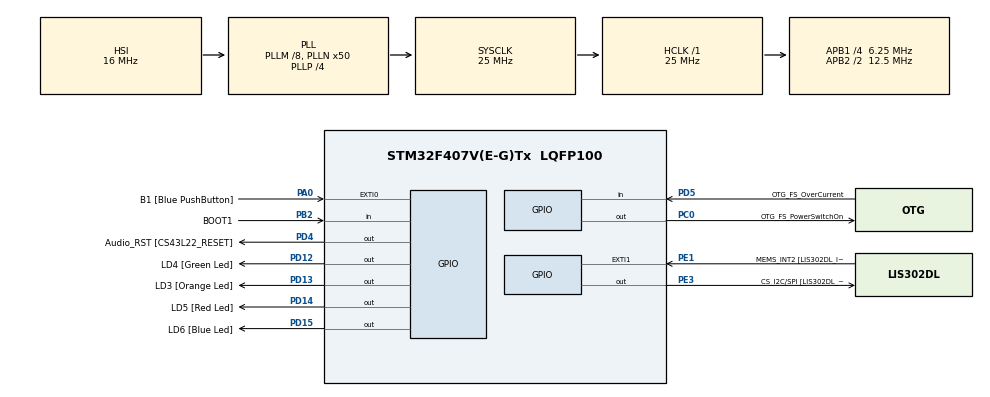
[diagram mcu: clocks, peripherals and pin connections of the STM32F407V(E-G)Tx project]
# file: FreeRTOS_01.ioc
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Mcu.Family=STM32F4
Mcu.Name=STM32F407V(E-G)Tx
Mcu.Package=LQFP100
NVIC.PriorityGroup=NVIC_PRIORITYGROUP_4
NVIC.TIM6_DAC_IRQn=true\:0\:0\:false\:false\:true\:false\:true\:true
NVIC.TimeBase=TIM6_DAC_IRQn
NVIC.TimeBaseIP=TIM6
PA0-WKUP.GPIO_Label=B1 [Blue PushButton]
PA0-WKUP.Signal=GPXTI0
PA10.GPIO_Label=OTG_FS_ID
PA10.GPIO_Mode=GPIO_MODE_AF_PP
PA10.GPIO_PuPd=GPIO_NOPULL
PA10.GPIO_Speed=GPIO_SPEED_FREQ_LOW
PA10.Signal=USB_OTG_FS_ID
PA11.GPIO_Label=OTG_FS_DM
PA11.GPIO_Mode=GPIO_MODE_AF_PP
PA11.GPIO_PuPd=GPIO_NOPULL
PA11.GPIO_Speed=GPIO_SPEED_FREQ_LOW
PA11.Signal=USB_OTG_FS_DM
PA12.GPIO_Label=OTG_FS_DP
PA12.GPIO_Mode=GPIO_MODE_AF_PP
PA12.GPIO_PuPd=GPIO_NOPULL
PA12.GPIO_Speed=GPIO_SPEED_FREQ_LOW
PA12.Signal=USB_OTG_FS_DP
PA13.GPIO_Label=SWDIO
PA13.Signal=SYS_JTMS-SWDIO
PA14.GPIO_Label=SWCLK
PA14.Signal=SYS_JTCK-SWCLK
PA4.GPIO_Label=I2S3_WS [CS43L22_LRCK]
PA4.GPIO_Mode=GPIO_MODE_AF_PP
PA4.GPIO_PuPd=GPIO_NOPULL
PA4.GPIO_Speed=GPIO_SPEED_FREQ_LOW
PA4.Signal=I2S3_WS
PA5.GPIO_Label=SPI1_SCK [LIS302DL_SCL/SPC]
PA5.GPIO_Mode=GPIO_MODE_AF_PP
PA5.GPIO_PuPd=GPIO_NOPULL
PA5.GPIO_Speed=GPIO_SPEED_FREQ_LOW
PA5.Signal=SPI1_SCK
PA6.GPIO_Label=SPI1_MISO [LIS302DL_SDO]
PA6.GPIO_Mode=GPIO_MODE_AF_PP
PA6.GPIO_PuPd=GPIO_NOPULL
PA6.GPIO_Speed=GPIO_SPEED_FREQ_LOW
PA6.Signal=SPI1_MISO
PA7.GPIO_Label=SPI1_MOSI [LIS302DL_SDA/SDI/SDO]
PA7.GPIO_Mode=GPIO_MODE_AF_PP
PA7.GPIO_PuPd=GPIO_NOPULL
PA7.GPIO_Speed=GPIO_SPEED_FREQ_LOW
PA7.Signal=SPI1_MOSI
PA9.GPIO_Label=VBUS_FS
PA9.GPIO_Mode=GPIO_MODE_INPUT
PA9.GPIO_PuPd=GPIO_NOPULL
PA9.Signal=USB_OTG_FS_VBUS
PB10.GPIO_Label=CLK_IN [MP45DT02_CLK]
PB10.GPIO_Mode=GPIO_MODE_AF_PP
PB10.GPIO_PuPd=GPIO_NOPULL
PB10.GPIO_Speed=GPIO_SPEED_FREQ_LOW
PB10.Signal=I2S2_CK
PB2.GPIO_Label=BOOT1
PB2.GPIO_Mode=GPIO_MODE_INPUT
PB2.GPIO_PuPd=GPIO_NOPULL
PB2.Signal=GPIO_Input
PB3.GPIO_Label=SWO
PB3.Signal=SYS_JTDO-SWO
PB6.GPIO_Label=Audio_SCL [CS43L22_SCL]
PB6.GPIO_Mode=GPIO_MODE_AF_OD
PB6.GPIO_PuPd=GPIO_NOPULL
PB6.GPIO_Speed=GPIO_SPEED_FREQ_LOW
PB6.Signal=I2C1_SCL
PB9.GPIO_Label=Audio_SDA [CS43L22_SDA]
PB9.GPIO_Mode=GPIO_MODE_AF_OD
PB9.GPIO_PuPd=GPIO_NOPULL
PB9.GPIO_Speed=GPIO_SPEED_FREQ_LOW
PB9.Signal=I2C1_SDA
PC0.GPIO_Label=OTG_FS_PowerSwitchOn
PC0.GPIO_PuPd=GPIO_NOPULL
PC0.GPIO_Speed=GPIO_SPEED_FREQ_LOW
PC0.PinState=GPIO_PIN_SET
PC0.Signal=GPIO_Output
PC10.GPIO_Label=I2S3_SCK [CS43L22_SCLK]
PC10.GPIO_Mode=GPIO_MODE_AF_PP
PC10.GPIO_PuPd=GPIO_NOPULL
PC10.GPIO_Speed=GPIO_SPEED_FREQ_LOW
PC10.Signal=I2S3_CK
PC12.GPIO_Label=I2S3_SD [CS43L22_SDIN]
PC12.GPIO_Mode=GPIO_MODE_AF_PP
PC12.GPIO_PuPd=GPIO_NOPULL
PC12.GPIO_Speed=GPIO_SPEED_FREQ_LOW
PC12.Signal=I2S3_SD
PC14-OSC32_IN.GPIO_Label=PC14-OSC32_IN
PC14-OSC32_IN.Signal=RCC_OSC32_IN
PC15-OSC32_OUT.GPIO_Label=PC15-OSC32_OUT
PC15-OSC32_OUT.Signal=RCC_OSC32_OUT
PC3.GPIO_Label=PDM_OUT [MP45DT02_DOUT]
PC3.GPIO_Mode=GPIO_MODE_AF_PP
PC3.GPIO_PuPd=GPIO_NOPULL
PC3.GPIO_Speed=GPIO_SPEED_FREQ_LOW
PC3.Signal=I2S2_SD
PC7.GPIO_Label=I2S3_MCK [CS43L22_MCLK]
PC7.GPIO_Mode=GPIO_MODE_AF_PP
PC7.GPIO_PuPd=GPIO_NOPULL
PC7.GPIO_Speed=GPIO_SPEED_FREQ_LOW
PC7.Signal=I2S3_MCK
PD12.GPIO_Label=LD4 [Green Led]
PD12.GPIO_PuPd=GPIO_NOPULL
PD12.GPIO_Speed=GPIO_SPEED_FREQ_LOW
PD12.Signal=GPIO_Output
PD13.GPIO_Label=LD3 [Orange Led]
PD13.GPIO_PuPd=GPIO_NOPULL
PD13.GPIO_Speed=GPIO_SPEED_FREQ_LOW
PD13.Signal=GPIO_Output
PD14.GPIO_Label=LD5 [Red Led]
PD14.GPIO_PuPd=GPIO_NOPULL
PD14.GPIO_Speed=GPIO_SPEED_FREQ_LOW
PD14.Signal=GPIO_Output
PD15.GPIO_Label=LD6 [Blue Led]
PD15.GPIO_PuPd=GPIO_NOPULL
PD15.GPIO_Speed=GPIO_SPEED_FREQ_LOW
PD15.Signal=GPIO_Output
PD4.GPIO_Label=Audio_RST [CS43L22_RESET]
PD4.GPIO_PuPd=GPIO_NOPULL
PD4.GPIO_Speed=GPIO_SPEED_FREQ_LOW
PD4.Signal=GPIO_Output
PD5.GPIO_Label=OTG_FS_OverCurrent
PD5.GPIO_Mode=GPIO_MODE_INPUT
PD5.GPIO_PuPd=GPIO_NOPULL
PD5.Signal=GPIO_Input
PE1.GPIO_Label=MEMS_INT2 [LIS302DL_INT2]
PE1.GPIO_ModeDefaultEXTI=GPIO_MODE_EVT_RISING
PE1.GPIO_PuPd=GPIO_NOPULL
PE1.Signal=GPXTI1
PE3.GPIO_Label=CS_I2C/SPI [LIS302DL_CS_I2C/SPI]
PE3.GPIO_PuPd=GPIO_NOPULL
PE3.GPIO_Speed=GPIO_SPEED_FREQ_LOW
PE3.Signal=GPIO_Output
PH0-OSC_IN.GPIO_Label=PH0-OSC_IN
PH0-OSC_IN.Signal=RCC_OSC_IN
PH1-OSC_OUT.GPIO_Label=PH1-OSC_OUT
PH1-OSC_OUT.Signal=RCC_OSC_OUT
ProjectManager.HeapSize=0x200
ProjectManager.StackSize=0x400
ProjectManager.TargetToolchain=STM32CubeIDE
RCC.48MHZClocksFreq_Value=14285714.285714285
RCC.AHBFreq_Value=25000000
RCC.APB1CLKDivider=RCC_HCLK_DIV4
RCC.APB1Freq_Value=6250000
RCC.APB1TimFreq_Value=12500000
RCC.APB2CLKDivider=RCC_HCLK_DIV2
RCC.APB2Freq_Value=12500000
RCC.APB2TimFreq_Value=25000000
RCC.CortexFreq_Value=25000000
RCC.HCLKFreq_Value=25000000
RCC.HSE_VALUE=8000000
RCC.HSI_VALUE=16000000
RCC.LSE_VALUE=32768
RCC.PLLM=8
RCC.PLLN=50
RCC.PLLP=RCC_PLLP_DIV4
RCC.PLLQ=7
RCC.SYSCLKFreq_VALUE=25000000
RCC.SYSCLKSource=RCC_SYSCLKSOURCE_PLLCLK
RCC.VCOOutputFreq_Value=100000000
VP_SYS_VS_tim6.Mode=TIM6
board=STM32F407G-DISC1

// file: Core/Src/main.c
/* USER CODE BEGIN Header */
/**
  ******************************************************************************
  * @file           : main.c
  * @brief          : Main program body
  ******************************************************************************
  * @attention
  *
  * Copyright (c) 2023 STMicroelectronics.
  * All rights reserved.
  *
  * This software is licensed under terms that can be found in the LICENSE file
  * in the root directory of this software component.
  * If no LICENSE file comes with this software, it is provided AS-IS.
  *
  ******************************************************************************
  */
/* USER CODE END Header */
#include "main.h"

/* USER CODE BEGIN Includes */
#include <stdio.h>
#include "FreeRTOS.h"
#include "task.h"
/* USER CODE END Includes */

/* USER CODE BEGIN PV */
#define DWT_CTRL (*(volatile uint32_t*)0xE0001000)

/* USER CODE END PV */

void SystemClock_Config(void);
static void MX_GPIO_Init(void);
/* USER CODE BEGIN PFP */
static void task1_handler(void* parameters);
static void task2_handler(void* parameters);
/* USER CODE END PFP */

int main(void)
{
  /* USER CODE BEGIN 1 */
TaskHandle_t task1_handle;
TaskHandle_t task2_handle;
BaseType_t status;
  /* USER CODE END 1 */

  /* MCU Configuration--------------------------------------------------------*/

  /* Reset of all peripherals, Initializes the Flash interface and the Systick. */
  HAL_Init();

  /* Configure the system clock */
  SystemClock_Config();

  /* Initialize all configured peripherals */
  MX_GPIO_Init();

  /* USER CODE BEGIN 2 */

  // Enable the CYCCNT counter - use address 0xE0001000
  DWT_CTRL |= (1 << 0); 	// set 0th-bit to 1
  // SEGGER Start Call
  SEGGER_SYSVIEW_Conf();
  SEGGER_SYSVIEW_Start();

  status = xTaskCreate(task1_handler,"Task-1",200, "Task-1",2,&task1_handle);
  configASSERT(status == pdPASS);

  status = xTaskCreate(task2_handler,"Task-2",200, "Task-2",2,&task2_handle);
    configASSERT(status == pdPASS);

    // Start freeRTOS Scheduler
    vTaskStartScheduler();

  /* USER CODE END 2 */

  /* Infinite loop */
  while (1)
  {

  }
}

void SystemClock_Config(void)
{
  RCC_OscInitTypeDef RCC_OscInitStruct = {0};
  RCC_ClkInitTypeDef RCC_ClkInitStruct = {0};

  /** Configure the main internal regulator output voltage
  */
  __HAL_RCC_PWR_CLK_ENABLE();
  __HAL_PWR_VOLTAGESCALING_CONFIG(PWR_REGULATOR_VOLTAGE_SCALE1);

  /** Initializes the RCC Oscillators according to the specified parameters
  * in the RCC_OscInitTypeDef structure.
  */
  RCC_OscInitStruct.OscillatorType = RCC_OSCILLATORTYPE_HSI;
  RCC_OscInitStruct.HSIState = RCC_HSI_ON;
  RCC_OscInitStruct.HSICalibrationValue = RCC_HSICALIBRATION_DEFAULT;
  RCC_OscInitStruct.PLL.PLLState = RCC_PLL_ON;
  RCC_OscInitStruct.PLL.PLLSource = RCC_PLLSOURCE_HSI;
  RCC_OscInitStruct.PLL.PLLM = 8;
  RCC_OscInitStruct.PLL.PLLN = 50;
  RCC_OscInitStruct.PLL.PLLP = RCC_PLLP_DIV4;
  RCC_OscInitStruct.PLL.PLLQ = 7;
  if (HAL_RCC_OscConfig(&RCC_OscInitStruct) != HAL_OK)
  {
    Error_Handler();
  }

  /** Initializes the CPU, AHB and APB buses clocks
  */
  RCC_ClkInitStruct.ClockType = RCC_CLOCKTYPE_HCLK|RCC_CLOCKTYPE_SYSCLK
                              |RCC_CLOCKTYPE_PCLK1|RCC_CLOCKTYPE_PCLK2;
  RCC_ClkInitStruct.SYSCLKSource = RCC_SYSCLKSOURCE_PLLCLK;
  RCC_ClkInitStruct.AHBCLKDivider = RCC_SYSCLK_DIV1;
  RCC_ClkInitStruct.APB1CLKDivider = RCC_HCLK_DIV4;
  RCC_ClkInitStruct.APB2CLKDivider = RCC_HCLK_DIV2;

  if (HAL_RCC_ClockConfig(&RCC_ClkInitStruct, FLASH_LATENCY_0) != HAL_OK)
  {
    Error_Handler();
  }
}

static void MX_GPIO_Init(void)
{
  GPIO_InitTypeDef GPIO_InitStruct = {0};

  /* GPIO Ports Clock Enable */
  __HAL_RCC_GPIOE_CLK_ENABLE();
  __HAL_RCC_GPIOC_CLK_ENABLE();
  __HAL_RCC_GPIOH_CLK_ENABLE();
  __HAL_RCC_GPIOA_CLK_ENABLE();
  __HAL_RCC_GPIOB_CLK_ENABLE();
  __HAL_RCC_GPIOD_CLK_ENABLE();

  /*Configure GPIO pin Output Level */
  HAL_GPIO_WritePin(CS_I2C_SPI_GPIO_Port, CS_I2C_SPI_Pin, GPIO_PIN_RESET);

  /*Configure GPIO pin Output Level */
  HAL_GPIO_WritePin(OTG_FS_PowerSwitchOn_GPIO_Port, OTG_FS_PowerSwitchOn_Pin, GPIO_PIN_SET);

  /*Configure GPIO pin Output Level */
  HAL_GPIO_WritePin(GPIOD, LD4_Pin|LD3_Pin|LD5_Pin|LD6_Pin
                          |Audio_RST_Pin, GPIO_PIN_RESET);

  /*Configure GPIO pin : CS_I2C_SPI_Pin */
  GPIO_InitStruct.Pin = CS_I2C_SPI_Pin;
  GPIO_InitStruct.Mode = GPIO_MODE_OUTPUT_PP;
  GPIO_InitStruct.Pull = GPIO_NOPULL;
  GPIO_InitStruct.Speed = GPIO_SPEED_FREQ_LOW;
  HAL_GPIO_Init(CS_I2C_SPI_GPIO_Port, &GPIO_InitStruct);

  /*Configure GPIO pin : OTG_FS_PowerSwitchOn_Pin */
  GPIO_InitStruct.Pin = OTG_FS_PowerSwitchOn_Pin;
  GPIO_InitStruct.Mode = GPIO_MODE_OUTPUT_PP;
  GPIO_InitStruct.Pull = GPIO_NOPULL;
  GPIO_InitStruct.Speed = GPIO_SPEED_FREQ_LOW;
  HAL_GPIO_Init(OTG_FS_PowerSwitchOn_GPIO_Port, &GPIO_InitStruct);

  /*Configure GPIO pin : PDM_OUT_Pin */
  GPIO_InitStruct.Pin = PDM_OUT_Pin;
  GPIO_InitStruct.Mode = GPIO_MODE_AF_PP;
  GPIO_InitStruct.Pull = GPIO_NOPULL;
  GPIO_InitStruct.Speed = GPIO_SPEED_FREQ_LOW;
  GPIO_InitStruct.Alternate = GPIO_AF5_SPI2;
  HAL_GPIO_Init(PDM_OUT_GPIO_Port, &GPIO_InitStruct);

  /*Configure GPIO pin : B1_Pin */
  GPIO_InitStruct.Pin = B1_Pin;
  GPIO_InitStruct.Mode = GPIO_MODE_IT_RISING;
  GPIO_InitStruct.Pull = GPIO_NOPULL;
  HAL_GPIO_Init(B1_GPIO_Port, &GPIO_InitStruct);

  /*Configure GPIO pin : I2S3_WS_Pin */
  GPIO_InitStruct.Pin = I2S3_WS_Pin;
  GPIO_InitStruct.Mode = GPIO_MODE_AF_PP;
  GPIO_InitStruct.Pull = GPIO_NOPULL;
  GPIO_InitStruct.Speed = GPIO_SPEED_FREQ_LOW;
  GPIO_InitStruct.Alternate = GPIO_AF6_SPI3;
  HAL_GPIO_Init(I2S3_WS_GPIO_Port, &GPIO_InitStruct);

  /*Configure GPIO pins : SPI1_SCK_Pin SPI1_MISO_Pin SPI1_MOSI_Pin */
  GPIO_InitStruct.Pin = SPI1_SCK_Pin|SPI1_MISO_Pin|SPI1_MOSI_Pin;
  GPIO_InitStruct.Mode = GPIO_MODE_AF_PP;
  GPIO_InitStruct.Pull = GPIO_NOPULL;
  GPIO_InitStruct.Speed = GPIO_SPEED_FREQ_LOW;
  GPIO_InitStruct.Alternate = GPIO_AF5_SPI1;
  HAL_GPIO_Init(GPIOA, &GPIO_InitStruct);

  /*Configure GPIO pin : BOOT1_Pin */
  GPIO_InitStruct.Pin = BOOT1_Pin;
  GPIO_InitStruct.Mode = GPIO_MODE_INPUT;
  GPIO_InitStruct.Pull = GPIO_NOPULL;
  HAL_GPIO_Init(BOOT1_GPIO_Port, &GPIO_InitStruct);

  /*Configure GPIO pin : CLK_IN_Pin */
  GPIO_InitStruct.Pin = CLK_IN_Pin;
  GPIO_InitStruct.Mode = GPIO_MODE_AF_PP;
  GPIO_InitStruct.Pull = GPIO_NOPULL;
  GPIO_InitStruct.Speed = GPIO_SPEED_FREQ_LOW;
  GPIO_InitStruct.Alternate = GPIO_AF5_SPI2;
  HAL_GPIO_Init(CLK_IN_GPIO_Port, &GPIO_InitStruct);

  /*Configure GPIO pins : LD4_Pin LD3_Pin LD5_Pin LD6_Pin
                           Audio_RST_Pin */
  GPIO_InitStruct.Pin = LD4_Pin|LD3_Pin|LD5_Pin|LD6_Pin
                          |Audio_RST_Pin;
  GPIO_InitStruct.Mode = GPIO_MODE_OUTPUT_PP;
  GPIO_InitStruct.Pull = GPIO_NOPULL;
  GPIO_InitStruct.Speed = GPIO_SPEED_FREQ_LOW;
  HAL_GPIO_Init(GPIOD, &GPIO_InitStruct);

  /*Configure GPIO pins : I2S3_MCK_Pin I2S3_SCK_Pin I2S3_SD_Pin */
  GPIO_InitStruct.Pin = I2S3_MCK_Pin|I2S3_SCK_Pin|I2S3_SD_Pin;
  GPIO_InitStruct.Mode = GPIO_MODE_AF_PP;
  GPIO_InitStruct.Pull = GPIO_NOPULL;
  GPIO_InitStruct.Speed = GPIO_SPEED_FREQ_LOW;
  GPIO_InitStruct.Alternate = GPIO_AF6_SPI3;
  HAL_GPIO_Init(GPIOC, &GPIO_InitStruct);

  /*Configure GPIO pin : VBUS_FS_Pin */
  GPIO_InitStruct.Pin = VBUS_FS_Pin;
  GPIO_InitStruct.Mode = GPIO_MODE_INPUT;
  GPIO_InitStruct.Pull = GPIO_NOPULL;
  HAL_GPIO_Init(VBUS_FS_GPIO_Port, &GPIO_InitStruct);

  /*Configure GPIO pins : OTG_FS_ID_Pin OTG_FS_DM_Pin OTG_FS_DP_Pin */
  GPIO_InitStruct.Pin = OTG_FS_ID_Pin|OTG_FS_DM_Pin|OTG_FS_DP_Pin;
  GPIO_InitStruct.Mode = GPIO_MODE_AF_PP;
  GPIO_InitStruct.Pull = GPIO_NOPULL;
  GPIO_InitStruct.Speed = GPIO_SPEED_FREQ_LOW;
  GPIO_InitStruct.Alternate = GPIO_AF10_OTG_FS;
  HAL_GPIO_Init(GPIOA, &GPIO_InitStruct);

  /*Configure GPIO pin : OTG_FS_OverCurrent_Pin */
  GPIO_InitStruct.Pin = OTG_FS_OverCurrent_Pin;
  GPIO_InitStruct.Mode = GPIO_MODE_INPUT;
  GPIO_InitStruct.Pull = GPIO_NOPULL;
  HAL_GPIO_Init(OTG_FS_OverCurrent_GPIO_Port, &GPIO_InitStruct);

  /*Configure GPIO pins : Audio_SCL_Pin Audio_SDA_Pin */
  GPIO_InitStruct.Pin = Audio_SCL_Pin|Audio_SDA_Pin;
  GPIO_InitStruct.Mode = GPIO_MODE_AF_OD;
  GPIO_InitStruct.Pull = GPIO_NOPULL;
  GPIO_InitStruct.Speed = GPIO_SPEED_FREQ_LOW;
  GPIO_InitStruct.Alternate = GPIO_AF4_I2C1;
  HAL_GPIO_Init(GPIOB, &GPIO_InitStruct);

  /*Configure GPIO pin : MEMS_INT2_Pin */
  GPIO_InitStruct.Pin = MEMS_INT2_Pin;
  GPIO_InitStruct.Mode = GPIO_MODE_EVT_RISING;
  GPIO_InitStruct.Pull = GPIO_NOPULL;
  HAL_GPIO_Init(MEMS_INT2_GPIO_Port, &GPIO_InitStruct);

}

/* USER CODE BEGIN 4 */
static void task1_handler(void* parameters)
{
	while(1)
	{
		printf("%s\n",(char*)parameters);
		//taskYIELD();
	}
}
static void task2_handler(void* parameters)
{
	while(1)
		{
			printf("%s\n",(char*)parameters);
			//taskYIELD();
		}
}
/* USER CODE END 4 */

void HAL_TIM_PeriodElapsedCallback(TIM_HandleTypeDef *htim)
{
  if (htim->Instance == TIM6) {
    HAL_IncTick();
  }
}

void Error_Handler(void)
{
  __disable_irq();
  while (1)
  {
  }
}
